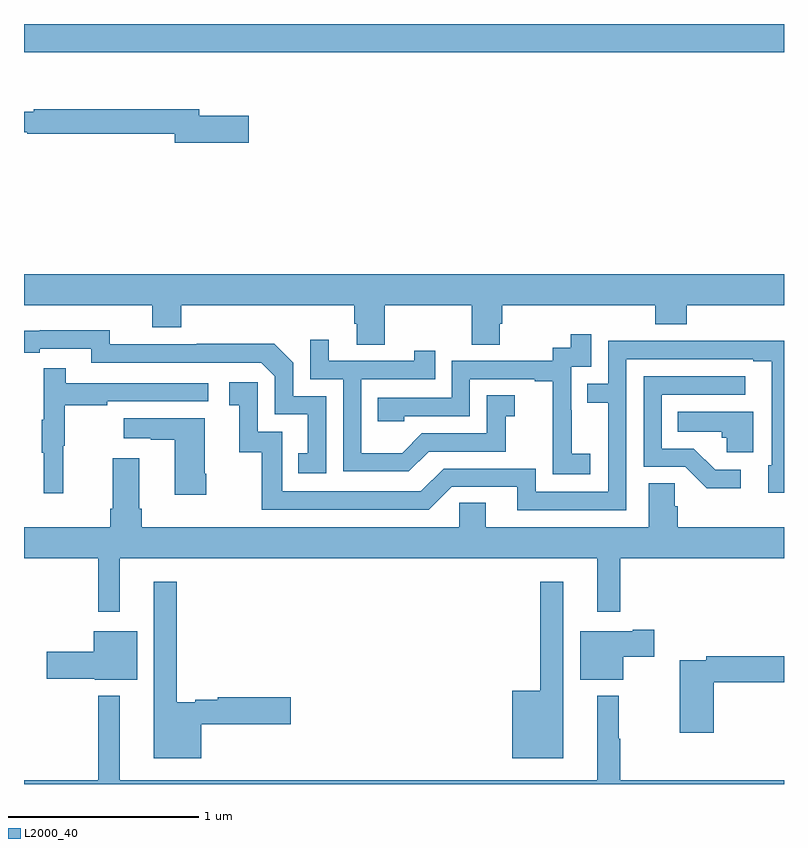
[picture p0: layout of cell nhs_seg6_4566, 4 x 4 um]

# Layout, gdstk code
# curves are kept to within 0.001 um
import gdstk
lib = gdstk.Library(unit=1e-6, precision=1e-09)
def R(c, l, rs):  # rectangles x0, y0, x1, y1
    for r in rs: c.add(gdstk.rectangle(r[:2], r[2:], *l))
def P(c, l, *ps):  # polygons
    for p in ps: c.add(gdstk.Polygon(p, *l))
L2000_40 = (2000, 40)

nhs_seg6_4566 = lib.new_cell('nhs_seg6_4566')
R(nhs_seg6_4566, L2000_40, [(381,931.352,385,931.5)])
P(nhs_seg6_4566, L2000_40, [(382.183,931.017),(381.922,931.017),(381.922,931.051),(381.052,931.051),(381.052,931.038),(381,931.038),(381,930.93),(381.016,930.93),(381.016,930.922),(381.794,930.922),(381.794,930.875),(382.183,930.875)],
  [(382.899,930.02),(383.356,930.02),(383.356,929.812),(383.503,929.812),(383.503,929.922),(383.516,929.922),(383.516,930.02),(384.323,930.02),(384.323,929.921),(384.488,929.921),(384.488,930.02),(385,930.02),(385,930.184),(381,930.184),(381,930.02),(381.674,930.02),(381.674,929.903),(381.827,929.903),(381.827,930.02),(382.739,930.02),(382.739,929.922),(382.751,929.922),(382.751,929.812),(382.899,929.812)],
  [(382.59,929.541),(382.416,929.541),(382.416,929.718),(382.318,929.816),(381.91,929.816),(381.91,929.814),(381.45,929.814),(381.45,929.887),(381,929.886),(381,929.77),(381.082,929.77),(381.082,929.79),(381.354,929.79),(381.354,929.718),(382.248,929.718),(382.32,929.646),(382.32,929.445),(382.493,929.445),(382.493,929.241),(382.444,929.241),(382.444,929.136),(382.59,929.136)],
  [(383.98,929.239),(383.882,929.239),(383.882,929.468),(383.88,929.468),(383.88,929.697),(383.985,929.697),(383.985,929.866),(383.877,929.866),(383.877,929.796),(383.784,929.796),(383.784,929.727),(383.25,929.727),(383.25,929.532),(382.861,929.532),(382.861,929.409),(383.001,929.409),(383.001,929.436),(383.346,929.436),(383.346,929.631),(383.687,929.631),(383.687,929.619),(383.783,929.619),(383.783,929.335),(383.782,929.335),(383.782,929.129),(383.98,929.129)],
  [(383.131,929.25),(383.535,929.25),(383.535,929.435),(383.584,929.435),(383.584,929.545),(383.436,929.545),(383.436,929.346),(383.094,929.346),(382.99,929.242),(382.776,929.242),(382.776,929.631),(383.165,929.631),(383.165,929.779),(383.054,929.779),(383.054,929.727),(382.603,929.727),(382.603,929.839),(382.506,929.839),(382.506,929.631),(382.68,929.631),(382.68,929.145),(383.026,929.145)],
  [(384.171,929.736),(384.839,929.736),(384.839,929.724),(384.936,929.724),(384.936,929.178),(384.917,929.178),(384.917,929.034),(385,929.034),(385,929.834),(384.571,929.834),(384.571,929.832),(384.075,929.832),(384.075,929.607),(383.965,929.607),(383.965,929.506),(384.075,929.506),(384.075,929.037),(383.694,929.037),(383.694,929.16),(383.208,929.16),(383.088,929.04),(382.359,929.04),(382.359,929.355),(382.23,929.355),(382.23,929.614),(382.08,929.614),(382.08,929.493),(382.133,929.493),(382.133,929.247),(382.251,929.247),(382.251,928.944),(383.13,928.944),(383.25,929.064),(383.597,929.064),(383.597,928.941),(384.171,928.941)],
  [(381.206,929.28),(381.214,929.28),(381.214,929.494),(381.437,929.494),(381.437,929.514),(381.97,929.514),(381.97,929.61),(381.221,929.61),(381.221,929.689),(381.104,929.689),(381.104,929.417),(381.093,929.417),(381.093,929.243),(381.104,929.243),(381.104,929.031),(381.206,929.031)],
  [(384.772,929.154),(384.637,929.154),(384.526,929.265),(384.357,929.265),(384.357,929.55),(384.796,929.55),(384.796,929.646),(384.261,929.646),(384.261,929.169),(384.48,929.169),(384.593,929.057),(384.772,929.057)],
  [(384.838,929.458),(384.442,929.458),(384.442,929.354),(384.673,929.354),(384.673,929.322),(384.699,929.322),(384.699,929.246),(384.838,929.246)],
  [(381.96,929.134),(381.952,929.134),(381.952,929.425),(381.525,929.425),(381.525,929.321),(381.668,929.321),(381.668,929.311),(381.794,929.311),(381.794,929.022),(381.96,929.022)],
  [(381.505,928.688),(384.017,928.688),(384.017,928.407),(384.139,928.407),(384.139,928.688),(385,928.688),(385,928.852),(384.44,928.852),(384.44,928.961),(384.426,928.961),(384.426,929.084),(384.287,929.084),(384.287,928.852),(383.431,928.852),(383.431,928.979),(383.292,928.979),(383.292,928.852),(381.62,928.852),(381.62,928.948),(381.607,928.948),(381.607,929.215),(381.467,929.215),(381.467,928.948),(381.455,928.948),(381.455,928.852),(381,928.852),(381,928.688),(381.391,928.688),(381.391,928.407),(381.505,928.407)],
  [(381.934,927.814),(382.405,927.814),(382.405,927.956),(382.02,927.956),(382.02,927.944),(381.902,927.944),(381.902,927.931),(381.805,927.931),(381.805,928.564),(381.683,928.564),(381.683,927.635),(381.934,927.635)],
  [(383.839,928.564),(383.718,928.564),(383.718,927.991),(383.57,927.991),(383.57,927.635),(383.839,927.635)],
  [(384.154,928.169),(384.316,928.169),(384.316,928.311),(384.203,928.311),(384.203,928.303),(383.927,928.303),(383.927,928.049),(384.154,928.049)],
  [(381.595,928.303),(381.368,928.303),(381.368,928.197),(381.12,928.197),(381.12,928.055),(381.372,928.055),(381.372,928.049),(381.595,928.049)],
  [(384.629,928.036),(385,928.036),(385,928.172),(384.592,928.172),(384.592,928.152),(384.451,928.152),(384.451,927.771),(384.629,927.771)],
  [(385,927.52),(384.139,927.52),(384.139,927.737),(384.131,927.737),(384.131,927.964),(384.017,927.964),(384.017,927.52),(381.505,927.52),(381.505,927.964),(381.391,927.964),(381.391,927.52),(381,927.52),(381,927.5),(385,927.5)])

lib.write_gds('nhs_seg6_4566.gds')
